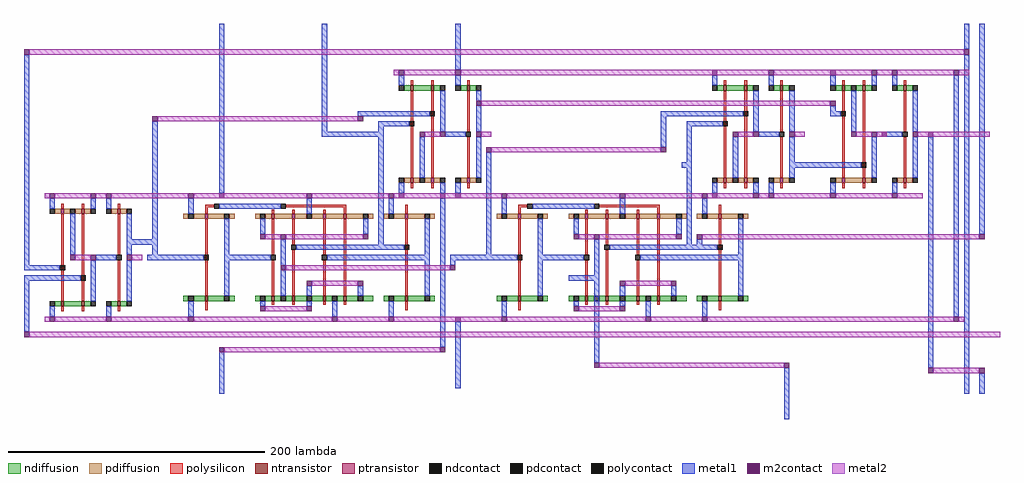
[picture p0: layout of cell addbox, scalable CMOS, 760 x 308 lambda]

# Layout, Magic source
magic
tech scmos
<< metal1 >>
rect -92 76 -88 240
rect 60 207 64 264
rect 140 201 144 264
rect 244 228 248 264
rect 640 244 644 264
rect -12 92 12 96
rect -92 72 -76 76
rect -92 64 -78 68
rect -92 24 -88 64
rect 232 12 236 128
rect 60 -24 64 6
rect 244 -20 248 32
rect 352 0 356 7
rect 500 -44 504 -4
rect 612 -4 616 176
rect 640 -24 644 240
rect 652 108 656 264
rect 652 -24 656 -8
<< metal2 >>
rect -88 240 640 244
rect -12 128 32 132
rect -10 32 34 36
rect -88 20 668 24
rect 64 8 232 12
rect 356 -4 500 0
rect 616 -8 652 -4
<< m2contact >>
rect -92 240 -88 244
rect 244 224 248 228
rect 640 240 644 244
rect 612 176 616 180
rect 232 128 236 132
rect -92 20 -88 24
rect 60 8 64 12
rect 232 8 236 12
rect 244 32 248 36
rect 352 -4 356 0
rect 500 -4 504 0
rect 612 -8 616 -4
rect 652 -8 656 -4
use adder2  adder2_0
transform 1 0 32 0 1 64
box -28 -63 628 164
use and  and_0
transform 1 0 -68 0 1 32
box -12 0 68 100
<< end >>

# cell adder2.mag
magic
tech scmos
<< metal1 >>
rect -24 20 -20 124
rect 28 68 32 148
rect 108 116 112 144
rect 504 132 508 136
rect 136 128 168 132
rect 372 128 411 132
rect 504 128 512 132
rect 152 120 170 124
rect 152 116 156 120
rect 108 112 156 116
rect 152 24 156 112
rect 372 104 376 128
rect 392 120 413 124
rect -28 16 -20 20
rect 208 16 224 20
rect 236 16 240 100
rect 392 92 396 120
rect 388 88 396 92
rect 472 88 528 92
rect 392 24 396 88
rect 400 24 404 32
rect 208 12 212 16
rect 300 0 324 4
rect 28 -63 32 -52
rect 320 -60 324 -9
rect 600 -28 604 160
rect 620 36 624 48
<< metal2 >>
rect 228 160 430 164
rect 476 160 508 164
rect 571 160 600 164
rect 604 160 612 164
rect 232 136 504 140
rect -20 124 136 128
rect 476 112 477 116
rect 576 112 628 116
rect 240 100 372 104
rect 200 64 240 68
rect 466 64 501 68
rect 404 32 620 36
rect 80 8 208 12
rect 199 -32 240 -28
rect 432 -32 600 -28
rect 604 -32 608 -28
<< polycontact >>
rect 512 128 516 132
rect 528 88 532 92
<< m2contact >>
rect 600 160 604 164
rect -24 124 -20 128
rect 228 136 232 140
rect 504 136 508 140
rect 136 124 140 128
rect 28 64 32 68
rect 236 100 240 104
rect 372 100 376 104
rect 400 32 404 36
rect 76 8 80 12
rect 208 8 212 12
rect 620 32 624 36
rect 600 -32 604 -28
use or  or_0
transform 1 0 500 0 -1 164
box 0 0 80 100
use and  and_1
transform 1 0 416 0 -1 164
box -12 0 68 100
use and  and_0
transform 1 0 172 0 -1 164
box -12 0 68 100
use xor3  xor3_0
transform 1 0 76 0 1 -28
box -96 -4 124 96
use xor3  xor3_1
transform 1 0 320 0 1 -28
box -96 -4 124 96
<< end >>

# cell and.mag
magic
tech scmos
<< metal1 >>
rect -12 40 4 44
rect -12 32 20 36
<< metal2 >>
rect 20 96 24 100
<< polycontact >>
rect 48 48 52 52
rect 4 40 8 44
rect 20 32 24 36
use not  not_0
transform 1 0 28 0 1 52
box 4 -52 40 48
use nand  nand_0
transform 1 0 0 0 1 52
box -8 -52 36 48
<< end >>

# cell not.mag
magic
tech scmos
<< polysilicon >>
rect 21 36 23 40
rect 21 0 23 32
rect 21 -36 23 -4
rect 21 -44 23 -40
<< ndiffusion >>
rect 16 -40 21 -36
rect 23 -40 28 -36
<< pdiffusion >>
rect 16 32 21 36
rect 23 32 28 36
<< metal1 >>
rect 12 36 16 44
rect 28 0 32 32
rect 4 -4 20 0
rect 28 -36 32 -4
rect 12 -48 16 -40
<< metal2 >>
rect 8 44 12 48
rect 16 44 36 48
rect 32 -4 40 0
rect 8 -52 12 -48
rect 16 -52 36 -48
<< ntransistor >>
rect 21 -40 23 -36
<< ptransistor >>
rect 21 32 23 36
<< polycontact >>
rect 20 -4 24 0
<< ndcontact >>
rect 12 -40 16 -36
rect 28 -40 32 -36
<< pdcontact >>
rect 12 32 16 36
rect 28 32 32 36
<< m2contact >>
rect 12 44 16 48
rect 28 -4 32 0
rect 12 -52 16 -48
<< end >>

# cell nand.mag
magic
tech scmos
<< polysilicon >>
rect 5 36 7 40
rect 21 36 23 40
rect 5 -36 7 32
rect 21 -36 23 32
rect 5 -44 7 -40
rect 21 -44 23 -40
<< ndiffusion >>
rect 0 -40 5 -36
rect 7 -40 21 -36
rect 23 -40 28 -36
<< pdiffusion >>
rect 0 32 5 36
rect 7 32 12 36
rect 16 32 21 36
rect 23 32 28 36
<< metal1 >>
rect -4 36 0 44
rect 28 36 32 44
rect 12 0 16 32
rect 28 -36 32 -4
rect -4 -48 0 -40
<< metal2 >>
rect -8 44 -4 48
rect 0 44 28 48
rect 32 44 36 48
rect 16 -4 28 0
rect -8 -52 -4 -48
rect 0 -52 36 -48
<< ntransistor >>
rect 5 -40 7 -36
rect 21 -40 23 -36
<< ptransistor >>
rect 5 32 7 36
rect 21 32 23 36
<< ndcontact >>
rect -4 -40 0 -36
rect 28 -40 32 -36
<< pdcontact >>
rect -4 32 0 36
rect 12 32 16 36
rect 28 32 32 36
<< m2contact >>
rect -4 44 0 48
rect 28 44 32 48
rect 12 -4 16 0
rect 28 -4 32 0
rect -4 -52 0 -48
<< end >>

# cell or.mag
magic
tech scmos
<< metal2 >>
rect 44 96 48 100
rect 44 0 48 4
<< m2contact >>
rect 44 48 48 52
use not  not_0
transform 1 0 40 0 1 52
box 4 -52 40 48
use nor1  nor1_0
transform 1 0 -4 0 1 52
box 4 -52 52 48
<< end >>

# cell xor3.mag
magic
tech scmos
<< polysilicon >>
rect -59 85 -52 87
rect -59 82 -57 85
rect 4 85 51 87
rect -7 80 -5 83
rect 9 80 11 83
rect 33 80 35 83
rect 49 80 51 85
rect -7 48 -5 76
rect 9 56 11 76
rect -7 16 -5 44
rect 9 16 11 52
rect 33 48 35 76
rect 33 16 35 44
rect 49 16 51 76
rect -7 9 -5 12
rect 9 9 11 12
rect 33 9 35 12
rect 49 9 51 12
<< ndiffusion >>
rect -20 12 -16 16
rect -12 12 -7 16
rect -5 12 0 16
rect 4 12 9 16
rect 11 12 20 16
rect 24 12 33 16
rect 35 12 40 16
rect 44 12 49 16
rect 51 12 60 16
rect 64 12 72 16
<< pdiffusion >>
rect -20 76 -16 80
rect -12 76 -7 80
rect -5 76 9 80
rect 11 76 20 80
rect 24 76 33 80
rect 35 76 49 80
rect 51 76 64 80
rect 68 76 72 80
<< metal1 >>
rect -48 84 0 88
rect 20 80 24 92
rect -16 64 -12 76
rect 64 64 68 76
rect -96 44 -60 48
rect -40 44 -8 48
rect 0 16 4 60
rect 12 52 96 56
rect 36 44 116 48
rect 20 16 24 24
rect 60 16 64 24
rect -16 8 -12 12
rect 20 8 24 12
rect 40 0 44 12
<< metal2 >>
rect -36 92 20 96
rect 24 92 76 96
rect -12 60 0 64
rect 4 60 64 64
rect 24 24 60 28
rect -12 4 20 8
rect -36 -4 40 0
rect 44 -4 76 0
<< ntransistor >>
rect -7 12 -5 16
rect 9 12 11 16
rect 33 12 35 16
rect 49 12 51 16
<< ptransistor >>
rect -7 76 -5 80
rect 9 76 11 80
rect 33 76 35 80
rect 49 76 51 80
<< polycontact >>
rect -52 84 -48 88
rect 0 84 4 88
rect 8 52 12 56
rect -60 44 -56 48
rect -8 44 -4 48
rect 32 44 36 48
rect 96 52 100 56
<< ndcontact >>
rect -16 12 -12 16
rect 0 12 4 16
rect 20 12 24 16
rect 40 12 44 16
rect 60 12 64 16
<< pdcontact >>
rect -16 76 -12 80
rect 20 76 24 80
rect 64 76 68 80
<< m2contact >>
rect 20 92 24 96
rect -16 60 -12 64
rect 0 60 4 64
rect 64 60 68 64
rect 20 24 24 28
rect 60 24 64 28
rect -16 4 -12 8
rect 20 4 24 8
rect 40 -4 44 0
use inv  inv_0
transform 1 0 -52 0 1 36
box -28 -40 20 60
use inv  inv_1
transform 1 0 104 0 1 36
box -28 -40 20 60
<< end >>

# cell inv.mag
magic
tech scmos
<< polysilicon >>
rect -7 44 -5 51
rect -7 -20 -5 40
rect -7 -31 -5 -24
<< ndiffusion >>
rect -24 -24 -20 -20
rect -16 -24 -7 -20
rect -5 -24 8 -20
rect 12 -24 16 -20
<< pdiffusion >>
rect -24 40 -20 44
rect -16 40 -7 44
rect -5 40 8 44
rect 12 40 16 44
<< metal1 >>
rect -20 44 -16 56
rect 8 -20 12 40
rect -20 -36 -16 -24
<< metal2 >>
rect -28 56 -20 60
rect -16 56 20 60
rect -28 -40 -20 -36
rect -16 -40 20 -36
<< ntransistor >>
rect -7 -24 -5 -20
<< ptransistor >>
rect -7 40 -5 44
<< ndcontact >>
rect -20 -24 -16 -20
rect 8 -24 12 -20
<< pdcontact >>
rect -20 40 -16 44
rect 8 40 12 44
<< m2contact >>
rect -20 56 -16 60
rect -20 -40 -16 -36
<< end >>

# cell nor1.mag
magic
tech scmos
<< polysilicon >>
rect 17 36 19 40
rect 33 36 35 40
rect 17 -36 19 32
rect 33 -36 35 32
rect 17 -44 19 -40
rect 33 -44 35 -40
<< ndiffusion >>
rect 12 -40 17 -36
rect 19 -40 24 -36
rect 28 -40 33 -36
rect 35 -40 40 -36
<< pdiffusion >>
rect 12 32 17 36
rect 19 32 33 36
rect 35 32 40 36
<< metal1 >>
rect 8 36 12 44
rect 40 0 44 32
rect 24 -36 28 -4
rect 8 -48 12 -40
rect 40 -48 44 -40
<< metal2 >>
rect 4 44 8 48
rect 12 44 48 48
rect 28 -4 40 0
rect 44 -4 52 0
rect 4 -52 8 -48
rect 12 -52 40 -48
rect 44 -52 48 -48
<< ntransistor >>
rect 17 -40 19 -36
rect 33 -40 35 -36
<< ptransistor >>
rect 17 32 19 36
rect 33 32 35 36
<< ndcontact >>
rect 8 -40 12 -36
rect 24 -40 28 -36
rect 40 -40 44 -36
<< pdcontact >>
rect 8 32 12 36
rect 40 32 44 36
<< m2contact >>
rect 8 44 12 48
rect 24 -4 28 0
rect 40 -4 44 0
rect 8 -52 12 -48
rect 40 -52 44 -48
<< end >>
